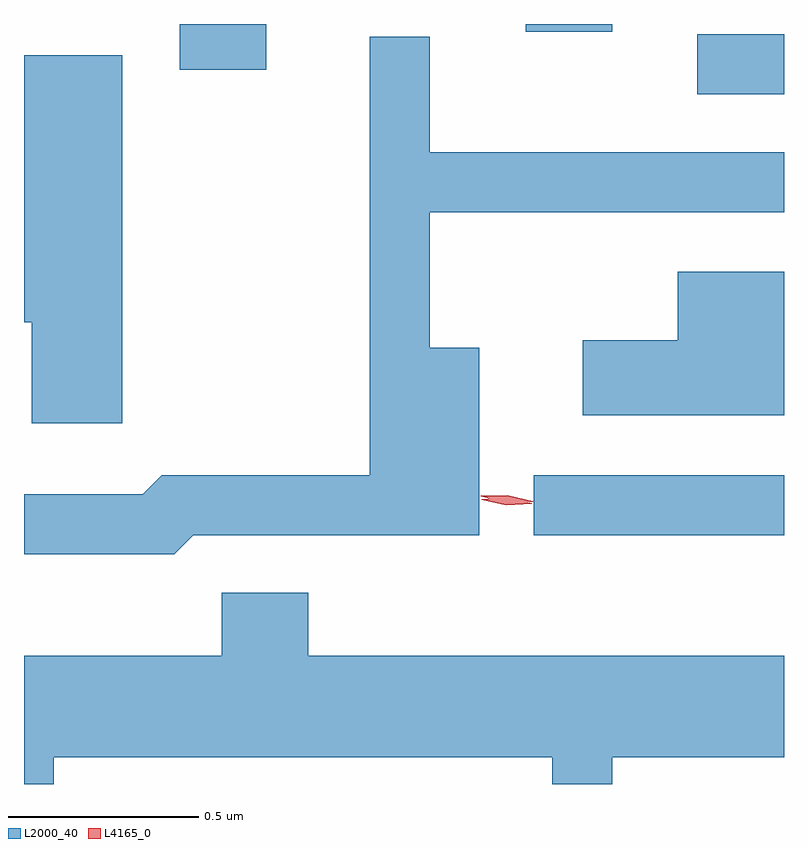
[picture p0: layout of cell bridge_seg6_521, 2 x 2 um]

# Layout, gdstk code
import gdstk
lib = gdstk.Library(unit=1e-6, precision=1e-09)
def R(c, l, rs):  # rectangles x0, y0, x1, y1
    for r in rs: c.add(gdstk.rectangle(r[:2], r[2:], *l))
def P(c, l, *ps):  # polygons
    for p in ps: c.add(gdstk.Polygon(p, *l))
L2000_40 = (2000, 40)
L4165_0 = (4165, 0)

bridge_seg6_521 = lib.new_cell('bridge_seg6_521')
R(bridge_seg6_521, L2000_40, [(906.668,1546.181,907.326,1546.339), (907.098,1547.341,907.326,1547.499), (905.736,1547.406,905.964,1547.526), (906.646,1547.506,906.874,1547.526)])
P(bridge_seg6_521, L2000_40, [(905.772,1546.181),(906.524,1546.181),(906.524,1546.674),(906.394,1546.674),(906.394,1547.031),(907.326,1547.031),(907.326,1547.189),(906.394,1547.189),(906.394,1547.493),(906.236,1547.493),(906.236,1546.339),(905.689,1546.339),(905.639,1546.289),(905.326,1546.289),(905.326,1546.131),(905.722,1546.131)],
  [(905.584,1547.444),(905.326,1547.444),(905.326,1546.741),(905.346,1546.741),(905.346,1546.476),(905.584,1546.476)],
  [(907.326,1546.874),(907.046,1546.874),(907.046,1546.694),(906.796,1546.694),(906.796,1546.496),(907.326,1546.496)],
  [(905.404,1545.596),(906.716,1545.596),(906.716,1545.526),(906.874,1545.526),(906.874,1545.596),(907.326,1545.596),(907.326,1545.864),(906.074,1545.864),(906.074,1546.029),(905.846,1546.029),(905.846,1545.864),(905.326,1545.864),(905.326,1545.526),(905.404,1545.526)])
P(bridge_seg6_521, L4165_0, [(906.596,1546.266),(906.528,1546.283),(906.528,1546.283),(906.528,1546.284),(906.598,1546.286),(906.665,1546.27),(906.666,1546.27),(906.665,1546.269)],
  [(906.595,1546.26),(906.531,1546.274),(906.53,1546.275),(906.531,1546.275),(906.597,1546.28),(906.662,1546.265),(906.662,1546.264),(906.662,1546.264)])

lib.write_gds('bridge_seg6_521.gds')
